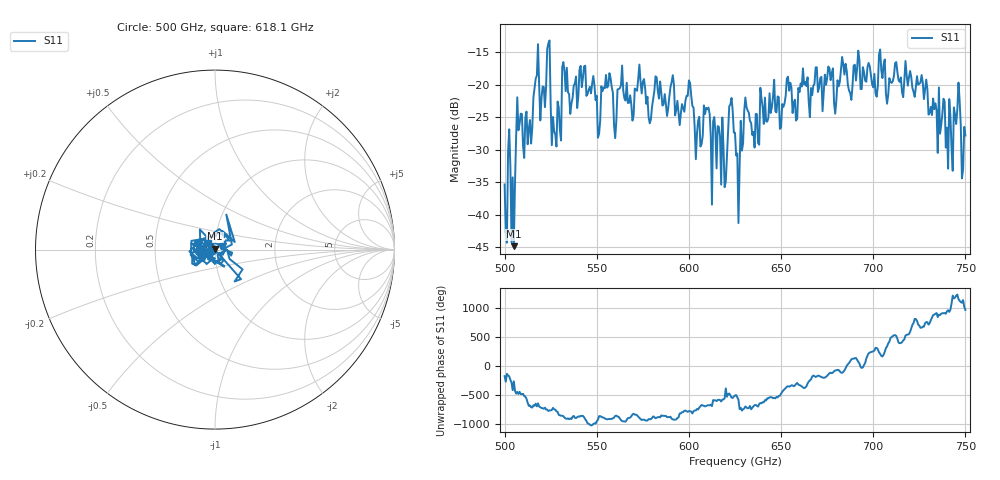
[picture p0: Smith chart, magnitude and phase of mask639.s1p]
!Created with skrf (http://scikit-rf.org).
# GHz S MA R 50.0
!freq magS11 angS11
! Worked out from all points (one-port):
!   401 points, 500 GHz to 750 GHz, reference 50 ohm
!   lowest |S11| = -44.9 dB at 505 GHz (marker M1), VSWR 1.01, Z = 50 + j0.571 ohm
!   |S11| at or under -10 dB: start of sweep to end of sweep
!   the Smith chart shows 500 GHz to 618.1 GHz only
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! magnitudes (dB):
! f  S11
! 500 GHz  -35.4
! 503.1 GHz  -32.5
! 505 GHz  -44.9
! 507.5 GHz  -27.0
! 513.8 GHz  -25.4
! 516.9 GHz  -19.1
! 520.6 GHz  -20.3
! 523.8 GHz  -13.6
! 526.9 GHz  -27.2
! 531.2 GHz  -17.3
! 542.5 GHz  -18.9
! 550.6 GHz  -28.2
! 562.5 GHz  -20.5
! 593.8 GHz  -22.5
! 609.4 GHz  -23.6
! 618.8 GHz  -29.6
! 622.5 GHz  -23.0
! 625 GHz  -27.4
! 626.2 GHz  -30.6
! 631.2 GHz  -23.5
! 636.9 GHz  -24.5
! 656.2 GHz  -24.3
! 676.9 GHz  -19.3
! 680 GHz  -22.4
! 683.8 GHz  -16.9
! 687.5 GHz  -21.3
! 718.8 GHz  -20.1
! 750 GHz  -27.8
